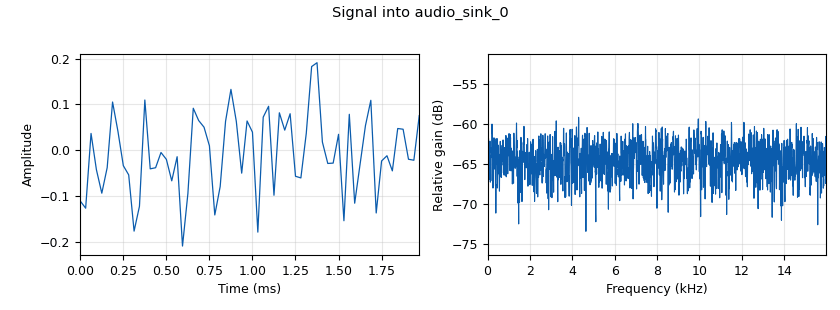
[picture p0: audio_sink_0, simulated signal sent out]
<?xml version='1.0' encoding='utf-8'?>
<?grc format='1' created='3.7.11'?>
<flow_graph>
<block>
<key>options</key>
<param><key>id</key><value>control_port</value></param>
<param><key>generate_options</key><value>qt_gui</value></param>
</block>
<block>
<key>variable</key>
<param><key>id</key><value>samp_rate</value></param>
<param><key>value</key><value>32000</value></param>
</block>
<block>
<key>analog_noise_source_x</key>
<param><key>id</key><value>analog_noise_source_x_0</value></param>
<param><key>amp</key><value>0.1</value></param>
<param><key>noise_type</key><value>analog.GR_GAUSSIAN</value></param>
<param><key>type</key><value>float</value></param>
<param><key>seed</key><value>0</value></param>
</block>
<block>
<key>audio_sink</key>
<param><key>id</key><value>audio_sink_0</value></param>
<param><key>samp_rate</key><value>samp_rate</value></param>
</block>
<block>
<key>blocks_ctrlport_monitor</key>
<param><key>id</key><value>blocks_ctrlport_monitor_0</value></param>
<param><key>en</key><value>True</value></param>
</block>
<block>
<key>blocks_ctrlport_monitor_performance</key>
<param><key>id</key><value>blocks_ctrlport_monitor_performance_0</value></param>
<param><key>en</key><value>True</value></param>
</block>
<block>
<key>blocks_throttle</key>
<param><key>id</key><value>blocks_throttle_0</value></param>
<param><key>samples_per_second</key><value>samp_rate</value></param>
<param><key>type</key><value>float</value></param>
</block>
<connection><source_block_id>analog_noise_source_x_0</source_block_id><sink_block_id>blocks_throttle_0</sink_block_id><source_key>0</source_key><sink_key>0</sink_key></connection>
<connection><source_block_id>blocks_throttle_0</source_block_id><sink_block_id>audio_sink_0</sink_block_id><source_key>0</source_key><sink_key>0</sink_key></connection>
</flow_graph>
